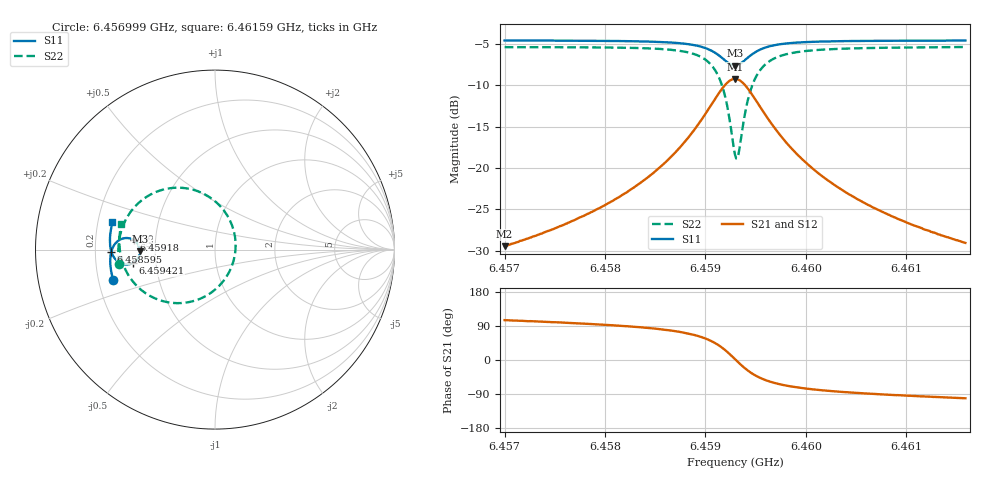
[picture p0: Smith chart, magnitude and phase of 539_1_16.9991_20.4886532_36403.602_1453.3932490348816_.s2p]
#  HZ  S  RI  R  50.00
! Rohde & Schwarz Vector Network Analyzer
! Rohde-Schwarz,ZNB20-2Port,1311601062101988,3.16
! Created: UTC 3/20/2024, 11:16:13 PM
! freq[Hz]  re:S11  im:S11  re:S21  im:S21  re:S12  im:S12  re:S22  im:S22
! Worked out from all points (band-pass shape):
!   401 points, 6.456999 GHz to 6.46159 GHz, reference 50 ohm
!   highest |S21| = -9.20 dB at 6.459295 GHz (marker M1); lowest = -29.4 dB at 6.456999 GHz (marker M2)
!   |S21| within 3 dB of the highest: 6.459066 GHz to 6.459524 GHz (458.7 kHz wide, 0.0071 % of centre)
!   lowest |S11| = -7.6 dB at 6.459295 GHz (marker M3), VSWR 2.43, Z = 20.5 - j0.453 ohm
!   |S11| at or under -10 dB: nowhere
!   |S22| runs from -18.8 to -5.3 dB; largest |S21 - S12| = 0.014
!   S11 on the Smith chart (normalised r, x): 6.456999 GHz: 0.26, -0.14; 6.458595 GHz: 0.27, -0.01; 6.45918 GHz: 0.37, +0.05; 6.459421 GHz: 0.37, -0.07; 6.46159 GHz: 0.26, +0.12
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6.4569994e9  -0.5672 -0.1705  -0.00883 0.0325  -0.00703 0.0325  -0.5332 -0.0829
6.4577683e9  -0.5809 -0.1031  -0.00566 0.0506  -0.00295 0.05  -0.5383 0.0073
6.4582044e9  -0.5838 -0.0595  0.000791 0.0708  0.00418 0.0694  -0.5292 0.0769
6.4585373e9  -0.5799 -0.0194  0.0145 0.099  0.0183 0.0962  -0.5041 0.1526
6.4585946e9  -0.5781 -0.0115  0.0188 0.1058  0.0229 0.1027  -0.4957 0.1693
6.4588012e9  -0.565 0.0206  0.0466 0.1382  0.0507 0.1333  -0.4438 0.242
6.4589504e9  -0.5421 0.047  0.092 0.1688  0.0952 0.1621  -0.3599 0.3065
6.4590881e9  -0.4982 0.0644  0.1793 0.1851  0.1803 0.1778  -0.2 0.3447
6.4591799e9  -0.4536 0.054  0.2696 0.1538  0.2697 0.1479  -0.0331 0.294
6.4592488e9  -0.4245 0.0219  0.3301 0.0817  0.3322 0.0764  0.0829 0.1638
6.4592947e9  -0.4176 -0.0091  0.3464 0.0134  0.3501 0.00649  0.1149 0.0361
6.4593062e9  -0.418 -0.0173  0.3463 -0.00437  0.3501 -0.012  0.1145 0.00231
6.4593291e9  -0.4217 -0.0328  0.3405 -0.0393  0.3444 -0.0483  0.1032 -0.0637
6.459375e9  -0.4374 -0.0591  0.3117 -0.0993  0.314 -0.1112  0.0449 -0.1772
6.4594209e9  -0.4593 -0.0754  0.2695 -0.1403  0.2687 -0.1537  -0.0408 -0.2525
6.4595128e9  -0.503 -0.0822  0.1844 -0.1714  0.1781 -0.1831  -0.2107 -0.2983
6.4596619e9  -0.5469 -0.0616  0.0961 -0.1573  0.0876 -0.1635  -0.3789 -0.2482
6.4598226e9  -0.5683 -0.0339  0.0513 -0.1291  0.0436 -0.132  -0.4595 -0.1755
6.4600636e9  -0.581 0.00165  0.0221 -0.0975  0.0163 -0.0981  -0.5073 -0.0926
6.4604309e9  -0.5855 0.045  0.00545 -0.0692  0.0015 -0.0688  -0.5292 -0.00881
6.4608325e9  -0.5836 0.0853  -0.00151 -0.0521  -0.00442 -0.0511  -0.5327 0.055
6.46159e9  -0.5712 0.1524  -0.00675 -0.0346  -0.0084 -0.0337  -0.5211 0.1448
